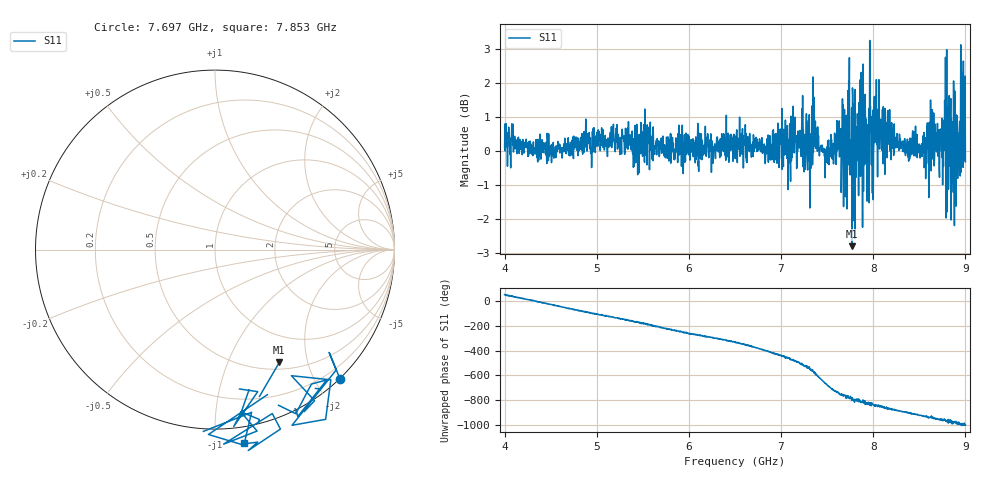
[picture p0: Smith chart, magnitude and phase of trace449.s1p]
! Created with skrf 1.8.0 (http://scikit-rf.org).
# Hz S RI R 50.0
!freq ReS11 ImS11
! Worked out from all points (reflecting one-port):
!   1601 points, 4 GHz to 9 GHz, reference 50 ohm
!   lowest |S11| = -2.8 dB at 7.772 GHz (marker M1), VSWR 6.24, Z = 29.5 - j77.9 ohm
!   phase of S11 starts at 53 deg and turns -1053 deg over the sweep
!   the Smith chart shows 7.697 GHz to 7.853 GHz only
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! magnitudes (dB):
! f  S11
! 4 GHz  0.1
! 4.625 GHz  -0.2
! 4.897 GHz  0.1
! 5.25 GHz  -0.1
! 5.875 GHz  0.1
! 6.5 GHz  0.0
! 6.819 GHz  -0.1
! 7.125 GHz  0.1
! 7.194 GHz  0.4
! 7.209 GHz  0.5
! 7.306 GHz  1.1
! 7.372 GHz  0.9
! 7.497 GHz  0.1
! 7.625 GHz  0.4
! 7.678 GHz  -1.6
! 7.75 GHz  -0.7
! 7.772 GHz  -2.8
! 7.794 GHz  -2.1
! 7.844 GHz  1.4
! 7.934 GHz  -1.5
! 8.038 GHz  0.2
! 8.375 GHz  0.0
! 8.738 GHz  0.6
! 8.788 GHz  -0.6
! 8.869 GHz  -1.2
! 8.919 GHz  -0.4
! 8.972 GHz  0.8
! 9 GHz  -0.3
